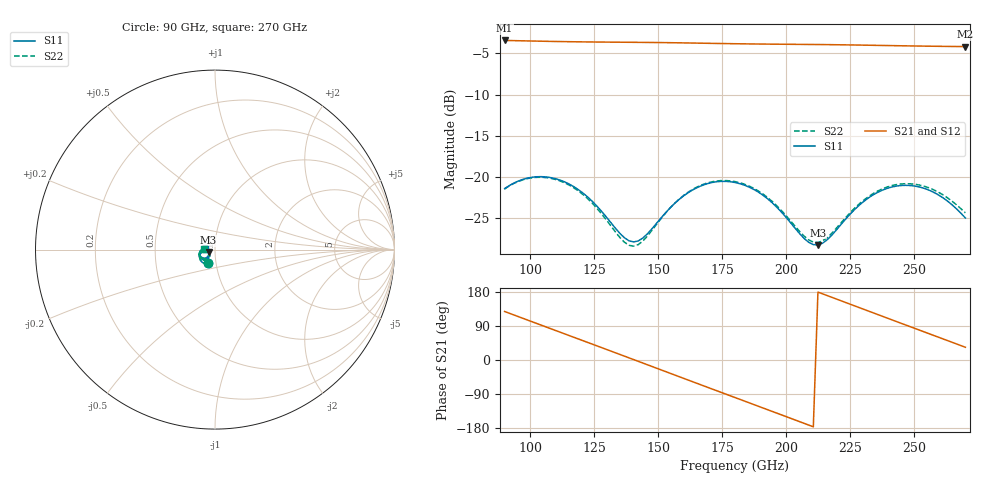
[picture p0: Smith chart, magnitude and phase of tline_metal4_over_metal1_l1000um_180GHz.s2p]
#  GHZ S DB R 50
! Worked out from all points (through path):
!   101 points, 90 GHz to 270 GHz, reference 50 ohm
!   highest |S21| = -3.43 dB at 90 GHz (marker M1); lowest = -4.2 dB at 270 GHz (marker M2)
!   group delay of S21, straight-line fit = 7.02 ps
!   lowest |S11| = -28.2 dB at 212.4 GHz (marker M3), VSWR 1.08, Z = 46.5 - j1.43 ohm
!   |S11| at or under -10 dB: start of sweep to end of sweep
!   |S22| runs from -28.4 to -20.0 dB; largest |S21 - S12| = 7.6e-14
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90  -21.38 -115.8  -3.43 128.1  -3.43 128.1  -21.42 -116.2
97.2  -20.26 -127.6  -3.47 109.9  -3.47 109.9  -20.31 -128.0
104.4  -19.94 -140.6  -3.52 91.7  -3.52 91.7  -20.01 -141.1
111.6  -20.35 -153.3  -3.56 73.6  -3.56 73.6  -20.45 -153.8
120.6  -21.92 -166.5  -3.60 51.0  -3.60 51.0  -22.10 -167.2
129.6  -24.77 -171.6  -3.63 28.4  -3.63 28.4  -25.12 -172.1
138.6  -27.71 -155.9  -3.65 5.7  -3.65 5.7  -28.26 -154.3
144  -27.38 -138.9  -3.66 -8.0  -3.66 -8.0  -27.74 -135.5
151.2  -24.91 -128.3  -3.69 -26.3  -3.69 -26.3  -24.98 -125.0
165.6  -21.20 -139.7  -3.75 -62.7  -3.75 -62.7  -21.12 -137.3
172.8  -20.56 -150.5  -3.79 -80.9  -3.79 -80.9  -20.46 -148.4
180  -20.64 -161.9  -3.82 -99.1  -3.82 -99.1  -20.53 -159.8
187.2  -21.46 -172.4  -3.85 -117.2  -3.85 -117.2  -21.33 -170.3
196.2  -23.60 178.7  -3.88 -139.9  -3.88 -139.9  -23.43 -179.1
210.6  -28.17 -162.8  -3.92 -176.3  -3.92 -176.3  -27.87 -161.3
212.4  -28.21 -156.7  -3.92 179.2  -3.92 179.2  -27.91 -155.4
225  -24.47 -136.0  -3.97 147.2  -3.97 147.2  -24.30 -134.9
234  -22.13 -142.5  -4.01 124.4  -4.01 124.4  -21.98 -141.1
241.2  -21.20 -152.0  -4.05 106.2  -4.05 106.2  -21.02 -150.2
248.4  -21.01 -162.5  -4.09 88.1  -4.09 88.1  -20.80 -160.4
255.6  -21.55 -172.6  -4.12 69.9  -4.12 69.9  -21.27 -170.1
270  -24.94 176.4  -4.17 33.6  -4.17 33.6  -24.33 179.4
